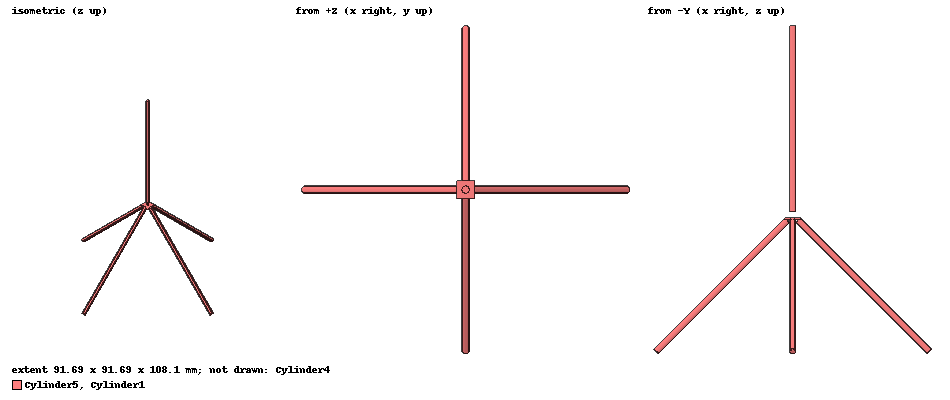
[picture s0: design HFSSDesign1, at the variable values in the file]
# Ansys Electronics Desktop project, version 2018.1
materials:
  vacuum: permittivity=1
  copper: permeability=0.999991 conductivity=58000000

design HFSSDesign1 (HFSS, DrivenModal, model units mm)
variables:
  I = 1mm
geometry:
  Cylinder1 [copper] = cylinder(axis=Z, base_centre=(0mm, 0mm, 2mm), radius=1mm, height=61.3mm)
  Cylinder4 [vacuum] = cylinder(axis=Z, base_centre=(0mm, 0mm, -50mm), radius=200mm, height=500mm)
  Box1 = box(corner=(-2.5mm, -2.5mm, 0mm), size=(5mm, 5mm, -0.5mm))
  Cylinder5 [copper] = cylinder(axis=X, base_centre=(2.5mm, 0mm, -1mm), radius=1mm, height=61.3mm)
  Cylinder5.rotate(axis=Y, angle=45deg)
  Cylinder5.move(0.73223305mm, 0mm, 1.767767mm)
  Cylinder5_1, Cylinder5_2, Cylinder5_3 = Cylinder5.duplicate_around_axis(axis=Z, angle=90deg, total=4)
  Cylinder5.unite(Cylinder5_1, Cylinder5_2, Cylinder5_3, Box1)
  Rectangle1 = rectangle(corner=(0mm, -1mm, 2mm), y_size=2mm, z_size=-2mm)
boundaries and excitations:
  Rad1: Radiation Objects=Cylinder4
  1: Lumped Port Objects=Rectangle1 Modes{Mode1{IntLine{middle of Rectangle1.edge(z opposite corner) -> middle of Rectangle1.edge(z at corner)} CharImp=Zpi RenormImp=50ohm}} Impedance=50ohm
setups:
  Setup1: HfssDriven Frequency=1090MHz MaxDeltaS=0.02 MaximumPasses=20 MinimumPasses=1 MinimumConvergedPasses=1 PercentRefinement=30 BasisOrder=1 PortAccuracy=2
    sweep Sweep: 0.3GHz to 3GHz, 1000 points; Type=Interpolating InterpTolerance=0.5 InterpMaxSolns=250 InterpUsePortImped=false PassivityErrorTolerance=0.0001
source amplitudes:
  1:1: 1W 0deg
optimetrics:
  ParametricSetup1: Parametric Sim._Setups=[Setup1]
    sweep I: LIN 0mm 10mm 1mm
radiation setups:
  Infinite Sphere1: Infinite Sphere Theta=0deg..360deg step 2deg Phi=0deg..360deg step 2deg
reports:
  S Parameter Plot 1: dB(S(1,1)) vs Freq on Setup1 : Sweep [I=all]; markers m1 at 1.098GHz, m2 at 1.0918919GHz
  Gain Plot 1: GainTotal vs Theta on Setup1 : LastAdaptive, Infinite Sphere1 [Phi=all Freq=1.09GHz]
